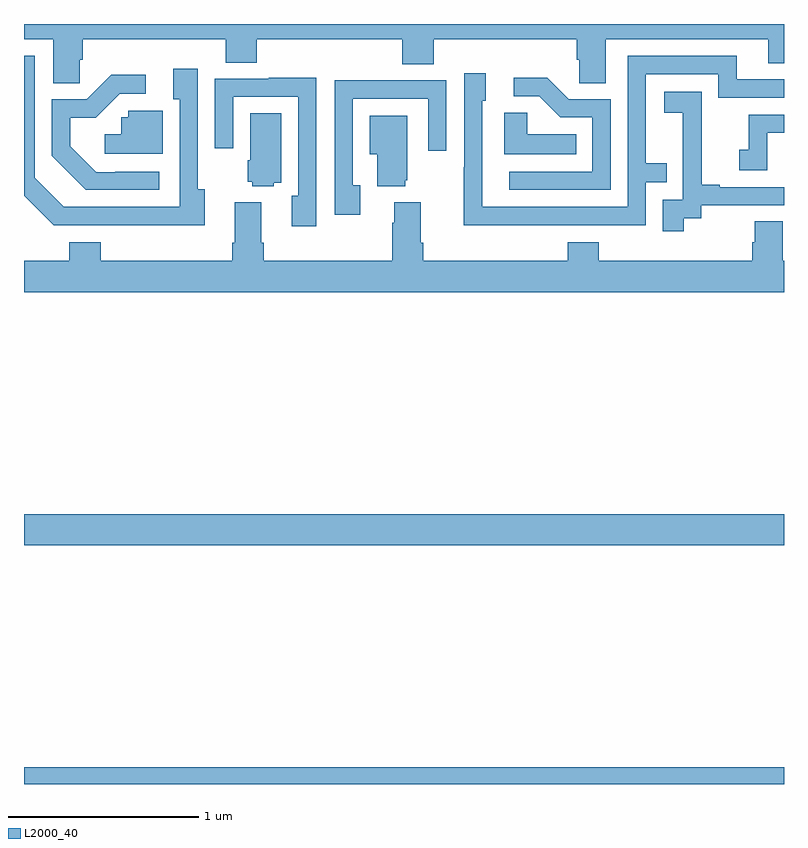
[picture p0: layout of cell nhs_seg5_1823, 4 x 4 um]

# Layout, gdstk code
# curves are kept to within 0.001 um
import gdstk
lib = gdstk.Library(unit=1e-6, precision=1e-09)
def R(c, l, rs):  # rectangles x0, y0, x1, y1
    for r in rs: c.add(gdstk.rectangle(r[:2], r[2:], *l))
def P(c, l, *ps):  # polygons
    for p in ps: c.add(gdstk.Polygon(p, *l))
L2000_40 = (2000, 40)

nhs_seg5_1823 = lib.new_cell('nhs_seg5_1823')
R(nhs_seg5_1823, L2000_40, [(219,892.799,223,892.888), (219,894.056,223,894.22)])
P(nhs_seg5_1823, L2000_40, [(219.293,896.61),(219.308,896.61),(219.308,896.72),(220.061,896.72),(220.061,896.596),(220.226,896.596),(220.226,896.72),(220.991,896.72),(220.991,896.587),(221.156,896.587),(221.156,896.72),(221.909,896.72),(221.909,896.611),(221.922,896.611),(221.922,896.488),(222.061,896.488),(222.061,896.72),(222.917,896.72),(222.917,896.593),(223,896.593),(223,896.799),(219,896.799),(219,896.72),(219.155,896.72),(219.155,896.488),(219.293,896.488)],
  [(219.952,895.93),(219.915,895.93),(219.915,896.563),(219.785,896.563),(219.785,896.402),(219.819,896.402),(219.819,895.836),(219.21,895.836),(219.057,895.989),(219.057,896.631),(219,896.631),(219,895.896),(219.156,895.74),(219.952,895.739)],
  [(221.777,895.74),(222.273,895.74),(222.273,895.965),(222.383,895.965),(222.383,896.066),(222.273,896.066),(222.273,896.535),(222.654,896.535),(222.654,896.412),(223,896.412),(223,896.508),(222.751,896.508),(222.751,896.631),(222.177,896.631),(222.177,895.836),(221.412,895.836),(221.412,896.394),(221.431,896.394),(221.431,896.539),(221.316,896.539),(221.316,896.045),(221.314,896.045),(221.314,895.739),(221.777,895.739)],
  [(219.712,896.022),(219.481,896.022),(219.481,896.019),(219.381,896.019),(219.244,896.156),(219.244,896.306),(219.377,896.306),(219.504,896.433),(219.64,896.433),(219.64,896.531),(219.458,896.531),(219.33,896.403),(219.147,896.403),(219.147,896.105),(219.326,895.926),(219.712,895.926)],
  [(222.087,896.403),(221.868,896.403),(221.755,896.516),(221.577,896.516),(221.577,896.418),(221.711,896.418),(221.822,896.307),(221.991,896.307),(221.991,896.022),(221.553,896.022),(221.553,895.926),(222.087,895.926)],
  [(220.539,896.515),(220.289,896.515),(220.289,896.511),(220.005,896.511),(220.005,896.145),(220.101,896.145),(220.101,896.415),(220.443,896.415),(220.443,895.895),(220.409,895.895),(220.409,895.734),(220.539,895.734)],
  [(220.771,895.95),(220.731,895.95),(220.731,896.406),(221.127,896.406),(221.127,896.133),(221.223,896.133),(221.223,896.502),(220.907,896.502),(220.907,896.504),(220.635,896.504),(220.635,895.794),(220.771,895.794)],
  [(222.472,895.777),(222.564,895.777),(222.564,895.845),(223,895.845),(223,895.941),(222.661,895.941),(222.661,895.954),(222.566,895.954),(222.566,896.237),(222.567,896.237),(222.567,896.443),(222.369,896.443),(222.369,896.333),(222.467,896.333),(222.467,896.105),(222.468,896.105),(222.468,895.875),(222.363,895.875),(222.363,895.707),(222.472,895.707)],
  [(219.73,896.343),(219.549,896.343),(219.549,896.307),(219.513,896.307),(219.513,896.218),(219.426,896.218),(219.426,896.115),(219.73,896.115)],
  [(221.906,896.218),(221.649,896.218),(221.649,896.333),(221.528,896.333),(221.528,896.114),(221.906,896.114)],
  [(220.314,895.964),(220.354,895.964),(220.354,896.33),(220.19,896.33),(220.19,896.082),(220.178,896.082),(220.178,895.968),(220.2,895.968),(220.2,895.946),(220.314,895.946)],
  [(222.912,896.226),(223,896.226),(223,896.322),(222.814,896.322),(222.814,896.137),(222.765,896.137),(222.765,896.028),(222.912,896.028)],
  [(221.006,895.977),(221.017,895.977),(221.017,896.317),(220.82,896.317),(220.82,896.114),(220.859,896.114),(220.859,895.946),(221.006,895.946)],
  [(223,895.552),(222.993,895.552),(222.993,895.76),(222.845,895.76),(222.845,895.65),(222.833,895.65),(222.833,895.552),(222.026,895.552),(222.026,895.651),(221.861,895.651),(221.861,895.552),(221.102,895.552),(221.102,895.648),(221.089,895.648),(221.089,895.861),(220.949,895.861),(220.949,895.754),(220.937,895.754),(220.937,895.552),(220.262,895.552),(220.262,895.648),(220.249,895.648),(220.249,895.861),(220.109,895.861),(220.109,895.648),(220.097,895.648),(220.097,895.552),(219.404,895.552),(219.404,895.651),(219.239,895.651),(219.239,895.552),(219,895.552),(219,895.388),(223,895.388)])

lib.write_gds('nhs_seg5_1823.gds')
